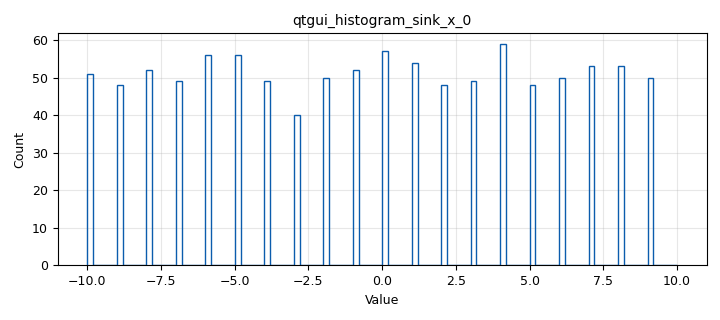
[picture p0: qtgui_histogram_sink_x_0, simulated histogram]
<?xml version='1.0' encoding='utf-8'?>
<?grc format='1' created='3.7.11'?>
<flow_graph>
<block>
<key>options</key>
<param><key>id</key><value>top_block</value></param>
<param><key>generate_options</key><value>qt_gui</value></param>
</block>
<block>
<key>variable</key>
<param><key>id</key><value>samp_rate</value></param>
<param><key>value</key><value>32000</value></param>
</block>
<block>
<key>variable_qtgui_range</key>
<param><key>id</key><value>scale</value></param>
<param><key>value</key><value>1</value></param>
<param><key>orient</key><value>Qt.Horizontal</value></param>
<param><key>start</key><value>0</value></param>
<param><key>step</key><value>0.1</value></param>
<param><key>stop</key><value>10</value></param>
</block>
<block>
<key>analog_noise_source_x</key>
<param><key>id</key><value>analog_noise_source_x_0</value></param>
<param><key>amp</key><value>1</value></param>
<param><key>_enabled</key><value>0</value></param>
<param><key>noise_type</key><value>analog.GR_GAUSSIAN</value></param>
<param><key>type</key><value>complex</value></param>
<param><key>seed</key><value>0</value></param>
</block>
<block>
<key>analog_random_uniform_source_x</key>
<param><key>id</key><value>analog_random_uniform_source_x_0</value></param>
<param><key>maximum</key><value>10</value></param>
<param><key>minimum</key><value>-10</value></param>
<param><key>type</key><value>int</value></param>
<param><key>seed</key><value>3</value></param>
</block>
<block>
<key>blocks_int_to_float</key>
<param><key>id</key><value>blocks_int_to_float_0</value></param>
<param><key>scale</key><value>scale</value></param>
</block>
<block>
<key>blocks_throttle</key>
<param><key>id</key><value>blocks_throttle_0</value></param>
<param><key>samples_per_second</key><value>samp_rate</value></param>
<param><key>type</key><value>float</value></param>
</block>
<block>
<key>digital_glfsr_source_x</key>
<param><key>id</key><value>digital_glfsr_source_x_0</value></param>
<param><key>_enabled</key><value>0</value></param>
<param><key>mask</key><value>0</value></param>
<param><key>repeat</key><value>True</value></param>
<param><key>seed</key><value>1</value></param>
<param><key>type</key><value>float</value></param>
</block>
<block>
<key>import</key>
<param><key>id</key><value>import_0</value></param>
<param><key>import</key><value>import numpy as np</value></param>
</block>
<block>
<key>qtgui_histogram_sink_x</key>
<param><key>id</key><value>qtgui_histogram_sink_x_0</value></param>
<param><key>xmax</key><value>10</value></param>
<param><key>xmin</key><value>-10</value></param>
<param><key>bins</key><value>100</value></param>
<param><key>size</key><value>1024</value></param>
<param><key>type</key><value>float</value></param>
</block>
<block>
<key>qtgui_time_sink_x</key>
<param><key>id</key><value>qtgui_time_sink_x_0</value></param>
<param><key>gui_hint</key><value>0,0</value></param>
<param><key>grid</key><value>True</value></param>
<param><key>color1</key><value>"blue"</value></param>
<param><key>label1</key><value></value></param>
<param><key>size</key><value>128</value></param>
<param><key>srate</key><value>samp_rate</value></param>
<param><key>tr_delay</key><value>0.0</value></param>
<param><key>tr_mode</key><value>qtgui.TRIG_MODE_TAG</value></param>
<param><key>tr_tag</key><value>"t0"</value></param>
<param><key>type</key><value>float</value></param>
<param><key>update_time</key><value>10</value></param>
<param><key>ymax</key><value>10</value></param>
<param><key>ymin</key><value>-10</value></param>
</block>
<connection><source_block_id>analog_random_uniform_source_x_0</source_block_id><sink_block_id>blocks_int_to_float_0</sink_block_id><source_key>0</source_key><sink_key>0</sink_key></connection>
<connection><source_block_id>blocks_int_to_float_0</source_block_id><sink_block_id>blocks_throttle_0</sink_block_id><source_key>0</source_key><sink_key>0</sink_key></connection>
<connection><source_block_id>blocks_throttle_0</source_block_id><sink_block_id>qtgui_histogram_sink_x_0</sink_block_id><source_key>0</source_key><sink_key>0</sink_key></connection>
<connection><source_block_id>blocks_throttle_0</source_block_id><sink_block_id>qtgui_time_sink_x_0</sink_block_id><source_key>0</source_key><sink_key>0</sink_key></connection>
</flow_graph>
